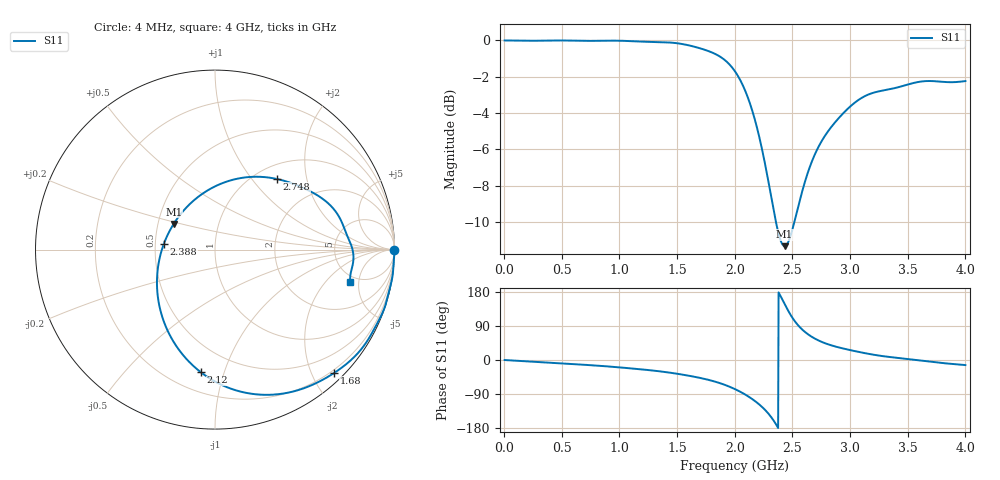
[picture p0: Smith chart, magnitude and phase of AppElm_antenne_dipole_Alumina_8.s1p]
! TOUCHSTONE file generated by CST MICROWAVE STUDIO
! Date and time: Sat May 14 10:20:45 2022
! Project name: AppElm_antenne_dipole_Alumina.cst
! Parameters = {L=33; e=0.035; f=2.45e+09; h=1.6; i=0.8; l1=2.2; lambda=122.449; ls=30; wl=1.7; ws=80}
! Header version: 2018
! Port assignment regex: !\s*Touchstone port\s*([0-9]+)\s*=\s*(CST MWS port|CST DS port)\s*([0-9]+|Zmin|Zmax)\s*\(\"(.*)\"\)(\s*mode\s*([0-9]+))?.*
! Touchstone port assignment:
! Touchstone port 1 = CST MWS port 1 ("")
# GHz S MA R 50
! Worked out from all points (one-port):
!   1000 points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, 4 MHz to 4 GHz, reference 50 ohm
!   lowest |S11| = -11.3 dB at 2.432 GHz (marker M1), VSWR 1.74, Z = 30.2 + j9.36 ohm
!   |S11| at or under -10 dB: 2.357 GHz to 2.517 GHz (160.1 MHz wide, 6.57 % of centre)
!   S11 on the Smith chart (normalised r, x): 4 MHz: open; 1.68 GHz: 0.15, -2.34; 2.12 GHz: 0.32, -0.84; 2.388 GHz: 0.55, +0.04; 2.748 GHz: 1.25, +1.35; 4 GHz: 4.30, -3.82
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0.004  1 -0.1
0.504  0.9999 -8.9
1.004  0.9983 -19.6
1.316  0.9903 -28.7
1.504  0.9821 -36.5
1.68  0.9552 -46.1
1.772  0.9348 -52.4
1.852  0.9104 -59.2
1.936  0.8703 -68.2
2.004  0.8202 -77.2
2.064  0.7591 -86.5
2.12  0.6872 -96.7
2.196  0.5696 -113.2
2.26  0.4611 -130.8
2.324  0.3588 -154.1
2.388  0.2872 174.0
2.432  0.2711 148.0
2.504  0.3049 109.6
2.556  0.3544 89.3
2.612  0.4114 73.2
2.672  0.4668 60.4
2.748  0.5243 48.5
2.856  0.5877 37.0
3.004  0.6589 25.9
3.192  0.716 14.5
3.504  0.7566 2.5
3.664  0.7729 -3.5
4  0.7728 -13.4
